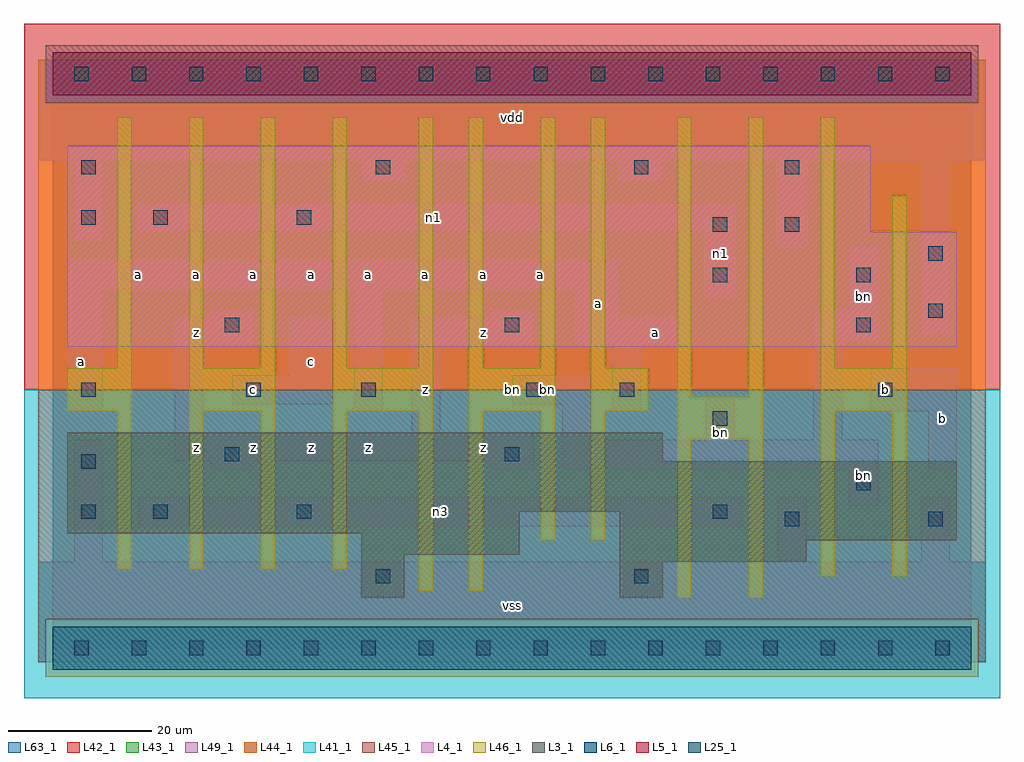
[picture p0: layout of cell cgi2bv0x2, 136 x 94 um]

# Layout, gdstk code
import gdstk
lib = gdstk.Library(unit=1e-6, precision=1e-09)
def R(c, l, rs):  # rectangles x0, y0, x1, y1
    for r in rs: c.add(gdstk.rectangle(r[:2], r[2:], *l))
def A(c, l, x, y, w, h, nx, ny, dx, dy):  # array of equal rectangles
    R(c, l, [(x+i*dx, y+j*dy, x+i*dx+w, y+j*dy+h) for i in range(nx) for j in range(ny)])
L3_1 = (3, 1)
L4_1 = (4, 1)
L5_1 = (5, 1)
L6_1 = (6, 1)
L25_1 = (25, 1)
L41_1 = (41, 1)
L42_1 = (42, 1)
L43_1 = (43, 1)
L44_1 = (44, 1)
L45_1 = (45, 1)
L46_1 = (46, 1)
L49_1 = (49, 1)
L63_1 = (63, 1)

cgi2bv0x2 = lib.new_cell('cgi2bv0x2')
R(cgi2bv0x2, L3_1, [(43,7,49,13), (79,7,85,12), (79,12,105,15), (43,13,65,16), (79,15,126,19), (2,16,65,19), (2,19,126,26), (2,26,85,30)])
R(cgi2bv0x2, L4_1, [(2,42,126,58), (2,58,114,70)])
R(cgi2bv0x2, L5_1, [(0,77,128,83)])
R(cgi2bv0x2, L6_1, [(0,-3,128,3), (0,-3,128,3)])
A(cgi2bv0x2, L25_1, 3, -1, 2, 2, 16, 2, 8, 80)
R(cgi2bv0x2, L25_1, [(45,9,47,11), (81,9,83,11), (102,17,104,19), (122,17,124,19), (4,18,6,20), (14,18,16,20), (34,18,36,20), (92,18,94,20), (112,22,114,24), (4,25,6,27), (24,26,26,28), (63,26,65,28), (92,31,94,33), (4,35,6,37), (27,35,29,37), (43,35,45,37), (66,35,68,37), (79,35,81,37), (115,35,117,37), (24,44,26,46), (63,44,65,46), (112,44,114,46), (122,46,124,48), (92,51,94,53), (112,51,114,53), (122,54,124,56), (92,58,94,60), (102,58,104,60), (4,59,6,61), (14,59,16,61), (34,59,36,61), (4,66,6,68), (45,66,47,68), (81,66,83,68), (102,66,104,68)])
R(cgi2bv0x2, L41_1, [(-4,-7,132,36)])
R(cgi2bv0x2, L42_1, [(-4,36,132,87)])
R(cgi2bv0x2, L43_1, [(0,-3,128,3), (43,7,49,13), (79,7,85,12), (79,12,105,15), (43,13,65,16), (79,15,126,19), (2,16,65,19), (2,19,126,26), (2,26,85,30), (2,42,126,58), (2,58,114,70), (0,77,128,83)])
R(cgi2bv0x2, L44_1, [(-1,-4,129,4), (-2,36,130,76), (-2,76,-1,82), (129,76,130,82)])
R(cgi2bv0x2, L45_1, [(-2,-2,-1,4), (129,-2,130,4), (-2,4,130,36), (-1,76,129,84)])
A(cgi2bv0x2, L46_1, 9, 11, 2, 22, 4, 1, 10, 0)
A(cgi2bv0x2, L46_1, 9, 39, 2, 35, 4, 1, 10, 0)
R(cgi2bv0x2, L46_1, [(87,7,89,29), (97,7,99,29), (51,8,53,33), (58,8,60,33), (107,10,109,33), (117,10,119,33), (68,15,70,33), (75,15,77,33), (87,29,99,35), (2,33,11,39), (19,33,31,39), (39,33,53,39), (58,33,70,39), (75,33,83,39), (107,33,119,39), (87,35,89,74), (97,35,99,74), (51,39,53,74), (58,39,60,74), (68,39,70,74), (75,39,77,74), (107,39,109,74), (117,39,119,63)])
R(cgi2bv0x2, L49_1, [(-2,-2,130,12), (3,12,7,29), (101,12,105,21), (121,12,125,21), (12,17,96,21), (111,20,115,25), (22,25,28,26), (61,25,67,26), (71,25,115,29), (122,25,126,33), (17,26,67,30), (71,29,75,34), (91,29,95,35), (106,29,110,43), (17,30,21,42), (50,30,54,42), (2,33,7,50), (42,33,46,50), (78,33,82,42), (114,33,126,39), (25,34,39,38), (64,34,75,38), (33,38,39,46), (17,42,28,46), (50,42,67,46), (73,42,87,46), (106,43,115,47), (121,44,125,68), (22,46,28,47), (61,46,67,47), (73,46,79,50), (111,47,115,56), (91,49,95,58), (2,50,79,54), (101,56,105,68), (3,57,7,68), (12,58,95,62), (43,65,49,68), (79,65,85,68), (-2,68,130,82)])
R(cgi2bv0x2, L63_1, [(0,0,128,80)])
cgi2bv0x2.add(gdstk.Label('bn', (64,36), layer=46, texttype=1))
cgi2bv0x2.add(gdstk.Label('z', (20,28), layer=49, texttype=1))
cgi2bv0x2.add(gdstk.Label('z', (20,44), layer=49, texttype=1))
cgi2bv0x2.add(gdstk.Label('a', (4,40), layer=49, texttype=1))
cgi2bv0x2.add(gdstk.Label('a', (12,52), layer=49, texttype=1))
cgi2bv0x2.add(gdstk.Label('a', (20,52), layer=49, texttype=1))
cgi2bv0x2.add(gdstk.Label('z', (28,28), layer=49, texttype=1))
cgi2bv0x2.add(gdstk.Label('z', (36,28), layer=49, texttype=1))
cgi2bv0x2.add(gdstk.Label('z', (44,28), layer=49, texttype=1))
cgi2bv0x2.add(gdstk.Label('c', (28,36), layer=49, texttype=1))
cgi2bv0x2.add(gdstk.Label('c', (36,40), layer=49, texttype=1))
cgi2bv0x2.add(gdstk.Label('a', (28,52), layer=49, texttype=1))
cgi2bv0x2.add(gdstk.Label('a', (36,52), layer=49, texttype=1))
cgi2bv0x2.add(gdstk.Label('a', (44,52), layer=49, texttype=1))
cgi2bv0x2.add(gdstk.Label('vss', (64,6), layer=49, texttype=1))
cgi2bv0x2.add(gdstk.Label('z', (60,28), layer=49, texttype=1))
cgi2bv0x2.add(gdstk.Label('z', (52,36), layer=49, texttype=1))
cgi2bv0x2.add(gdstk.Label('bn', (69,36), layer=49, texttype=1))
cgi2bv0x2.add(gdstk.Label('z', (60,44), layer=49, texttype=1))
cgi2bv0x2.add(gdstk.Label('a', (60,52), layer=49, texttype=1))
cgi2bv0x2.add(gdstk.Label('a', (68,52), layer=49, texttype=1))
cgi2bv0x2.add(gdstk.Label('a', (52,52), layer=49, texttype=1))
cgi2bv0x2.add(gdstk.Label('vdd', (64,74), layer=49, texttype=1))
cgi2bv0x2.add(gdstk.Label('n3', (54,19), layer=49, texttype=1))
cgi2bv0x2.add(gdstk.Label('bn', (93,30), layer=49, texttype=1))
cgi2bv0x2.add(gdstk.Label('a', (84,44), layer=49, texttype=1))
cgi2bv0x2.add(gdstk.Label('n1', (93,55), layer=49, texttype=1))
cgi2bv0x2.add(gdstk.Label('a', (76,48), layer=49, texttype=1))
cgi2bv0x2.add(gdstk.Label('n1', (53,60), layer=49, texttype=1))
cgi2bv0x2.add(gdstk.Label('bn', (113,24), layer=49, texttype=1))
cgi2bv0x2.add(gdstk.Label('b', (124,32), layer=49, texttype=1))
cgi2bv0x2.add(gdstk.Label('b', (116,36), layer=49, texttype=1))
cgi2bv0x2.add(gdstk.Label('bn', (113,49), layer=49, texttype=1))

lib.write_gds('cgi2bv0x2.gds')
